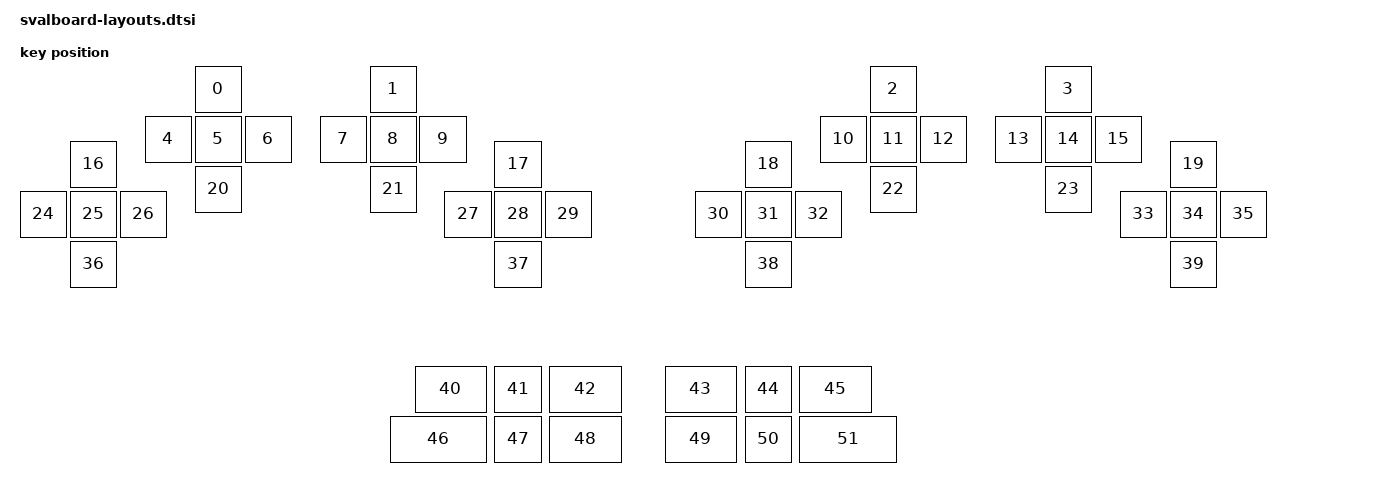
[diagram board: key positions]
#include <physical_layouts.dtsi>

/ {
    default_layout: default_layout {
        compatible = "zmk,physical-layout";
        display-name = "Default Layout";
        transform = <&default_transform>;
        kscan = <&kscan0>;


        keys  //                     w   h    x    y     rot    rx    ry
            = <&key_physical_attrs 100 100  350    0       0     0     0>
            , <&key_physical_attrs 100 100  700    0       0     0     0>
            , <&key_physical_attrs 100 100 1700    0       0     0     0>
            , <&key_physical_attrs 100 100 2050    0       0     0     0>
            , <&key_physical_attrs 100 100  250  100       0     0     0>
            , <&key_physical_attrs 100 100  350  100       0     0     0>
            , <&key_physical_attrs 100 100  450  100       0     0     0>
            , <&key_physical_attrs 100 100  600  100       0     0     0>
            , <&key_physical_attrs 100 100  700  100       0     0     0>
            , <&key_physical_attrs 100 100  800  100       0     0     0>
            , <&key_physical_attrs 100 100 1600  100       0     0     0>
            , <&key_physical_attrs 100 100 1700  100       0     0     0>
            , <&key_physical_attrs 100 100 1800  100       0     0     0>
            , <&key_physical_attrs 100 100 1950  100       0     0     0>
            , <&key_physical_attrs 100 100 2050  100       0     0     0>
            , <&key_physical_attrs 100 100 2150  100       0     0     0>
            , <&key_physical_attrs 100 100  100  150       0     0     0>
            , <&key_physical_attrs 100 100  950  150       0     0     0>
            , <&key_physical_attrs 100 100 1450  150       0     0     0>
            , <&key_physical_attrs 100 100 2300  150       0     0     0>
            , <&key_physical_attrs 100 100  350  200       0     0     0>
            , <&key_physical_attrs 100 100  700  200       0     0     0>
            , <&key_physical_attrs 100 100 1700  200       0     0     0>
            , <&key_physical_attrs 100 100 2050  200       0     0     0>
            , <&key_physical_attrs 100 100    0  250       0     0     0>
            , <&key_physical_attrs 100 100  100  250       0     0     0>
            , <&key_physical_attrs 100 100  200  250       0     0     0>
            , <&key_physical_attrs 100 100  850  250       0     0     0>
            , <&key_physical_attrs 100 100  950  250       0     0     0>
            , <&key_physical_attrs 100 100 1050  250       0     0     0>
            , <&key_physical_attrs 100 100 1350  250       0     0     0>
            , <&key_physical_attrs 100 100 1450  250       0     0     0>
            , <&key_physical_attrs 100 100 1550  250       0     0     0>
            , <&key_physical_attrs 100 100 2200  250       0     0     0>
            , <&key_physical_attrs 100 100 2300  250       0     0     0>
            , <&key_physical_attrs 100 100 2400  250       0     0     0>
            , <&key_physical_attrs 100 100  100  350       0     0     0>
            , <&key_physical_attrs 100 100  950  350       0     0     0>
            , <&key_physical_attrs 100 100 1450  350       0     0     0>
            , <&key_physical_attrs 100 100 2300  350       0     0     0>
            , <&key_physical_attrs 150 100  790  600       0     0     0>
            , <&key_physical_attrs 100 100  950  600       0     0     0>
            , <&key_physical_attrs 150 100 1060  600       0     0     0>
            , <&key_physical_attrs 150 100 1290  600       0     0     0>
            , <&key_physical_attrs 100 100 1450  600       0     0     0>
            , <&key_physical_attrs 150 100 1560  600       0     0     0>
            , <&key_physical_attrs 200 100  740  700       0     0     0>
            , <&key_physical_attrs 100 100  950  700       0     0     0>
            , <&key_physical_attrs 150 100 1060  700       0     0     0>
            , <&key_physical_attrs 150 100 1290  700       0     0     0>
            , <&key_physical_attrs 100 100 1450  700       0     0     0>
            , <&key_physical_attrs 200 100 1560  700       0     0     0>
            ;
    };
};
